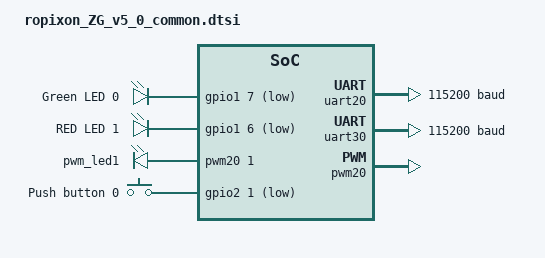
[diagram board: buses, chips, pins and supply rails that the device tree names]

/*
 * filepath: c:\Work\99_Witc\ZG_Repo\ZoneGuard\boards\Ropixon\ropixon_ZG_v5_0\ropixon_ZG_v5_0_common.dtsi
 * Copyright (c) 2024 Nordic Semiconductor ASA
 *
 * SPDX-License-Identifier: Apache-2.0
 */

 
#include "ropixon_ZG_v5_0-pinctrl.dtsi"


/ {
	leds {
		compatible = "gpio-leds";
		led0: led_0 {
			gpios = <&gpio1 7 GPIO_ACTIVE_LOW>;
			label = "Green LED 0";
		};
		led1: led_1 {
			gpios = <&gpio1 6 GPIO_ACTIVE_LOW>;
			label = "RED LED 1";
		};
	};

	pwmleds {
		compatible = "pwm-leds";
		/*
		 * PWM signal can be exposed on GPIO pin only within same domain.
		 * There is only one domain which contains both PWM and GPIO:
		 * PWM20/21/22 and GPIO Port P1.
		 * Only LEDs connected to P1 can work with PWM, for example LED1.
		 */
		pwm_led1: pwm_led_1 {
			pwms = <&pwm20 1 PWM_MSEC(20) PWM_POLARITY_NORMAL>;
		};
	};

	buttons {
		compatible = "gpio-keys";
		button0: button_0 {
			gpios = <&gpio2 1 (GPIO_PULL_UP | GPIO_ACTIVE_LOW)>;
			label = "Push button 0";
			zephyr,code = <INPUT_KEY_0>;
		};
	};

	aliases {
		led0 = &led0;
		led1 = &led1;
		buzzer = &pwm_led1;
		button0 = &button0;
		watchdog0 = &wdt31;
	};
};

&uart20 {
	current-speed = <115200>;
	pinctrl-0 = <&uart20_default>;
	pinctrl-1 = <&uart20_sleep>;
	pinctrl-names = "default", "sleep";
};

&uart30 {
	current-speed = <115200>;
	pinctrl-0 = <&uart30_default>;
	pinctrl-1 = <&uart30_sleep>;
	pinctrl-names = "default", "sleep";
};

&pwm20 {
	status = "okay";
	pinctrl-0 = <&pwm20_default>;
	pinctrl-1 = <&pwm20_sleep>;
	pinctrl-names = "default", "sleep";
};

/* Get a node label for wi-fi spi to use in shield files */
wifi_spi: &spi22 {};
